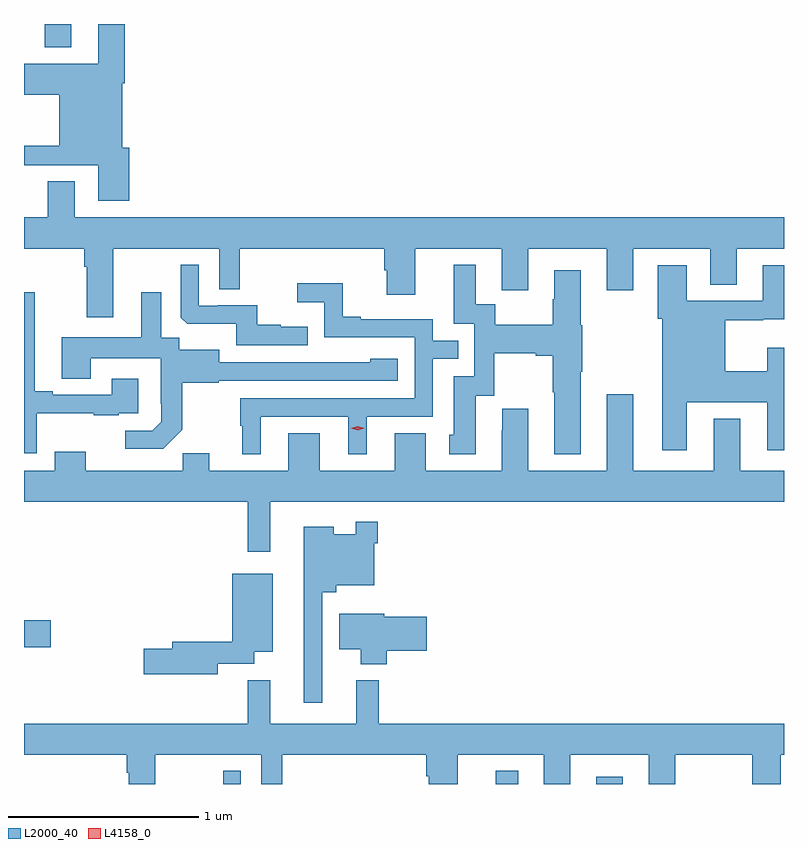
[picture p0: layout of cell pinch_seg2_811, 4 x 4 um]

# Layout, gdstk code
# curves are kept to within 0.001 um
import gdstk
lib = gdstk.Library(unit=1e-6, precision=1e-09)
def R(c, l, rs):  # rectangles x0, y0, x1, y1
    for r in rs: c.add(gdstk.rectangle(r[:2], r[2:], *l))
def P(c, l, *ps):  # polygons
    for p in ps: c.add(gdstk.Polygon(p, *l))
L2000_40 = (2000, 40)
L4158_0 = (4158, 0)

pinch_seg2_811 = lib.new_cell('pinch_seg2_811')
R(pinch_seg2_811, L2000_40, [(725.193,611.518,725.286,611.587), (726.629,611.518,726.745,611.587), (727.157,611.518,727.297,611.557), (724.145,612.238,724.285,612.38), (724.253,615.395,724.393,615.518)])
P(pinch_seg2_811, L2000_40, [(724.7,614.868),(724.663,614.868),(724.663,615.206),(724.676,615.206),(724.676,615.518),(724.535,615.518),(724.535,615.31),(724.145,615.31),(724.145,615.146),(724.331,615.146),(724.331,614.876),(724.145,614.876),(724.145,614.775),(724.535,614.775),(724.535,614.589),(724.7,614.589)],
  [(724.615,614.336),(725.172,614.336),(725.172,614.122),(725.281,614.122),(725.281,614.336),(726.041,614.336),(726.041,614.223),(726.053,614.223),(726.053,614.094),(726.205,614.094),(726.205,614.336),(726.659,614.336),(726.659,614.118),(726.799,614.118),(726.799,614.336),(727.211,614.336),(727.211,614.118),(727.351,614.118),(727.351,614.336),(727.757,614.336),(727.757,614.146),(727.897,614.146),(727.897,614.336),(728.145,614.336),(728.145,614.5),(724.411,614.5),(724.411,614.69),(724.271,614.69),(724.271,614.5),(724.145,614.5),(724.145,614.336),(724.463,614.336),(724.463,614.24),(724.475,614.24),(724.475,613.974),(724.615,613.974)],
  [(725.639,613.924),(725.495,613.924),(725.495,613.936),(725.372,613.936),(725.372,614.037),(725.164,614.037),(725.164,614.034),(725.064,614.034),(725.064,614.251),(724.971,614.251),(724.971,613.971),(725.003,613.94),(725.262,613.94),(725.262,613.827),(725.639,613.827)],
  [(727.075,613.688),(727.083,613.688),(727.083,613.932),(727.075,613.932),(727.075,614.221),(726.935,614.221),(726.935,614.07),(726.928,614.07),(726.928,613.936),(726.625,613.936),(726.625,614.042),(726.523,614.042),(726.523,614.251),(726.407,614.251),(726.407,613.941),(726.516,613.941),(726.516,613.665),(726.407,613.665),(726.407,613.356),(726.383,613.356),(726.383,613.254),(726.523,613.254),(726.523,613.562),(726.621,613.562),(726.621,613.784),(726.839,613.784),(726.839,613.772),(726.928,613.772),(726.928,613.579),(726.935,613.579),(726.935,613.253),(727.075,613.253)],
  [(727.633,613.526),(728.057,613.526),(728.057,613.275),(728.145,613.275),(728.145,613.813),(728.057,613.813),(728.057,613.69),(727.837,613.69),(727.837,613.96),(728.037,613.96),(728.037,613.964),(728.145,613.964),(728.145,614.248),(728.033,614.248),(728.033,614.061),(727.633,614.061),(727.633,614.248),(727.481,614.248),(727.481,613.968),(727.505,613.968),(727.505,613.275),(727.633,613.275)],
  [(725.392,613.452),(725.852,613.452),(725.852,613.253),(725.95,613.253),(725.95,613.452),(726.297,613.452),(726.297,613.755),(726.431,613.755),(726.431,613.851),(726.297,613.851),(726.297,613.965),(725.917,613.965),(725.917,613.978),(725.823,613.978),(725.823,614.153),(725.583,614.153),(725.583,614.054),(725.724,614.054),(725.724,613.869),(726.201,613.869),(726.201,613.548),(725.283,613.548),(725.283,613.404),(725.294,613.404),(725.294,613.253),(725.392,613.253)],
  [(724.977,613.383),(724.977,613.629),(725.169,613.629),(725.169,613.641),(726.112,613.641),(726.112,613.756),(725.967,613.756),(725.967,613.738),(725.173,613.737),(725.173,613.804),(724.962,613.804),(724.962,613.868),(724.867,613.868),(724.867,614.107),(724.763,614.107),(724.763,613.87),(724.343,613.87),(724.343,613.651),(724.495,613.651),(724.495,613.76),(724.866,613.76),(724.866,613.519),(724.868,613.519),(724.868,613.424),(724.821,613.377),(724.677,613.377),(724.677,613.283),(724.877,613.283)],
  [(724.213,613.469),(724.511,613.469),(724.511,613.458),(724.643,613.458),(724.643,613.47),(724.747,613.47),(724.747,613.651),(724.607,613.651),(724.607,613.566),(724.297,613.566),(724.297,613.585),(724.201,613.585),(724.201,614.107),(724.145,614.107),(724.145,613.26),(724.213,613.26)],
  [(728.145,613.168),(727.915,613.168),(727.915,613.441),(727.775,613.441),(727.775,613.168),(727.351,613.168),(727.351,613.57),(727.211,613.57),(727.211,613.168),(726.799,613.168),(726.799,613.492),(726.662,613.492),(726.662,613.379),(726.659,613.379),(726.659,613.168),(726.259,613.168),(726.259,613.363),(726.095,613.363),(726.095,613.168),(725.701,613.168),(725.701,613.363),(725.537,613.363),(725.537,613.168),(725.119,613.168),(725.119,613.259),(724.981,613.259),(724.981,613.168),(724.471,613.168),(724.471,613.267),(724.307,613.267),(724.307,613.168),(724.145,613.168),(724.145,613.004),(725.323,613.004),(725.323,612.741),(725.44,612.741),(725.44,613.004),(728.145,613.004)],
  [(725.715,612.527),(725.789,612.527),(725.789,612.563),(725.988,612.563),(725.988,612.785),(726.008,612.785),(726.008,612.898),(725.892,612.898),(725.892,612.832),(725.776,612.832),(725.776,612.871),(725.618,612.871),(725.618,611.946),(725.715,611.946)],
  [(725.164,612.15),(725.356,612.15),(725.356,612.215),(725.455,612.215),(725.455,612.625),(725.24,612.625),(725.24,612.266),(724.925,612.266),(724.925,612.23),(724.776,612.23),(724.776,612.095),(725.164,612.095)],
  [(726.053,612.22),(726.265,612.22),(726.265,612.398),(726.04,612.398),(726.04,612.415),(725.804,612.415),(725.804,612.227),(725.918,612.227),(725.918,612.149),(726.053,612.149)],
  [(724.837,611.672),(725.394,611.672),(725.394,611.518),(725.503,611.518),(725.503,611.672),(726.263,611.672),(726.263,611.559),(726.275,611.559),(726.275,611.518),(726.427,611.518),(726.427,611.672),(726.881,611.672),(726.881,611.518),(727.021,611.518),(727.021,611.672),(727.433,611.672),(727.433,611.518),(727.573,611.518),(727.573,611.672),(727.979,611.672),(727.979,611.518),(728.127,611.518),(728.127,611.672),(728.145,611.672),(728.145,611.836),(726.011,611.836),(726.011,612.064),(725.894,612.064),(725.894,611.836),(725.441,611.836),(725.441,612.065),(725.323,612.065),(725.323,611.836),(724.145,611.836),(724.145,611.672),(724.685,611.672),(724.685,611.576),(724.697,611.576),(724.697,611.518),(724.837,611.518)])
P(pinch_seg2_811, L4158_0, [(725.901,613.381),(725.865,613.39),(725.865,613.391),(725.865,613.391),(725.901,613.401),(725.937,613.391),(725.937,613.391),(725.937,613.39)])

lib.write_gds('pinch_seg2_811.gds')
